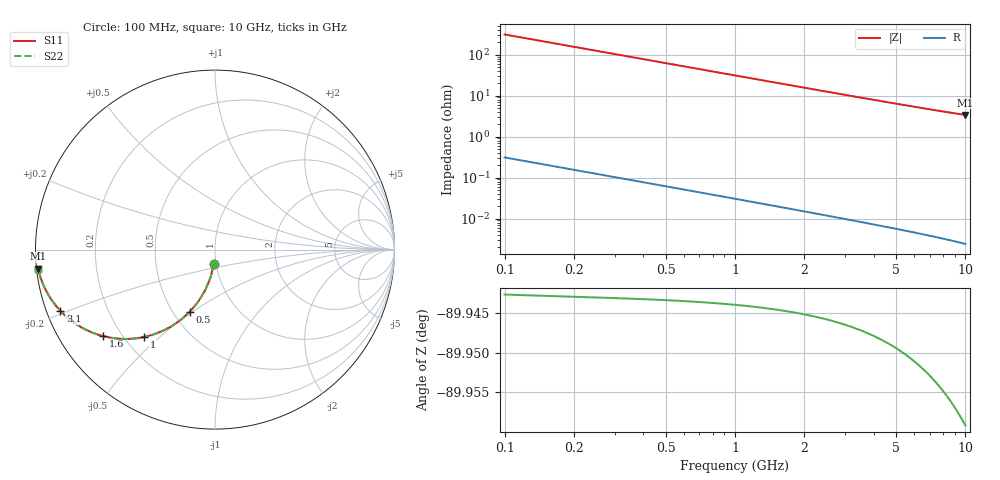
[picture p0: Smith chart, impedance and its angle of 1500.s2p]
# Hz S RI R 50.00
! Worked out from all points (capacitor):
!   100 points, 100 MHz to 10 GHz, reference 50 ohm
!   read as one part in shunt: C = 5.13 pF near 100 MHz
!   lowest |Z| = 3.37 ohm at 10 GHz (marker M1)
!   S11 on the Smith chart (normalised r, x): 100 MHz: 0.97, -0.16; 500 MHz: 0.61, -0.49; 1 GHz: 0.28, -0.45; 1.6 GHz: 0.13, -0.34; 3.1 GHz: 0.04, -0.19; 10 GHz: 0.00, -0.05
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1e8  -0.00649 -0.0799  0.9934 -0.0801  0.9934 -0.0801  -0.00649 -0.0799
2e8  -0.0254 -0.1567  0.9745 -0.1572  0.9745 -0.1572  -0.0254 -0.1567
3e8  -0.0553 -0.2278  0.9446 -0.2285  0.9446 -0.2285  -0.0553 -0.2278
4e8  -0.0942 -0.2911  0.9058 -0.2921  0.9058 -0.2921  -0.0942 -0.2911
5e8  -0.1396 -0.3455  0.8603 -0.3468  0.8603 -0.3468  -0.1396 -0.3455
6e8  -0.1894 -0.3906  0.8106 -0.3921  0.8106 -0.3921  -0.1894 -0.3906
7e8  -0.2412 -0.4264  0.7588 -0.4282  0.7588 -0.4282  -0.2412 -0.4264
8e8  -0.2932 -0.4538  0.7067 -0.4557  0.7067 -0.4557  -0.2932 -0.4538
1e9  -0.3931 -0.4867  0.6068 -0.4892  0.6068 -0.4892  -0.3931 -0.4867
1.3e9  -0.5224 -0.4974  0.4775 -0.5006  0.4775 -0.5006  -0.5224 -0.4974
1.6e9  -0.6234 -0.482  0.3765 -0.486  0.3765 -0.486  -0.6234 -0.482
1.8e9  -0.6768 -0.4649  0.3231 -0.4694  0.3231 -0.4694  -0.6768 -0.4649
2.1e9  -0.7402 -0.4354  0.2597 -0.4406  0.2597 -0.4406  -0.7402 -0.4354
2.4e9  -0.7881 -0.4052  0.2118 -0.4111  0.2118 -0.4111  -0.7881 -0.4052
2.7e9  -0.8247 -0.3763  0.1752 -0.383  0.1752 -0.383  -0.8247 -0.3763
3.1e9  -0.8611 -0.3414  0.1388 -0.3491  0.1388 -0.3491  -0.8611 -0.3414
3.4e9  -0.8817 -0.3181  0.1181 -0.3266  0.1181 -0.3266  -0.8817 -0.3181
4.2e9  -0.9192 -0.2666  0.0807 -0.2771  0.0807 -0.2771  -0.9192 -0.2666
5.1e9  -0.9438 -0.2232  0.056 -0.236  0.056 -0.236  -0.9438 -0.2232
6.7e9  -0.9668 -0.1698  0.033 -0.1869  0.033 -0.1869  -0.9668 -0.1698
8.4e9  -0.9788 -0.1322  0.0209 -0.154  0.0209 -0.154  -0.9788 -0.1322
1e10  -0.985 -0.1067  0.0145 -0.1331  0.0145 -0.1331  -0.985 -0.1067
